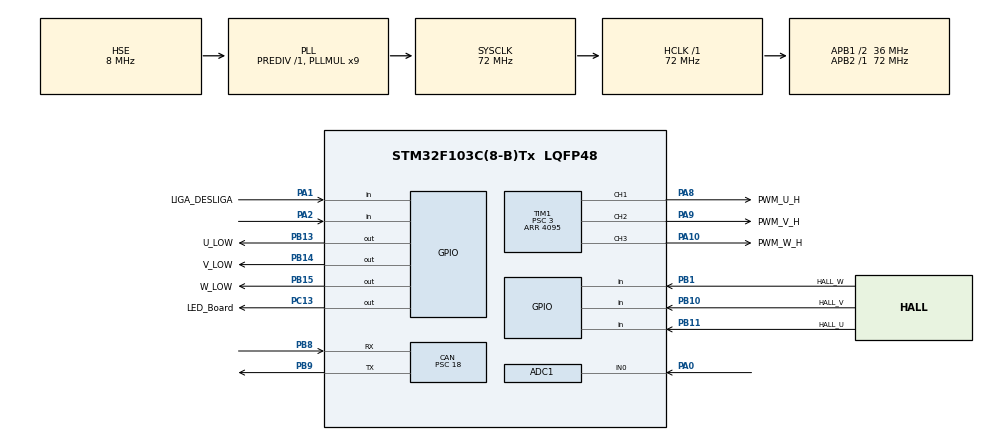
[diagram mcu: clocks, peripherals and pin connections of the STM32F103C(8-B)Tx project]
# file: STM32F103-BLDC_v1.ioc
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ADC1.Channel-0\#ChannelRegularConversion=ADC_CHANNEL_0
ADC1.NbrOfConversionFlag=1
ADC1.Rank-0\#ChannelRegularConversion=1
ADC1.SamplingTime-0\#ChannelRegularConversion=ADC_SAMPLETIME_1CYCLE_5
ADC1.master=1
CAN.BS1=CAN_BS1_13TQ
CAN.BS2=CAN_BS2_2TQ
CAN.CalculateBaudRate=125000
CAN.CalculateTimeBit=8000
CAN.CalculateTimeQuantum=500.0
CAN.NART=ENABLE
CAN.Prescaler=18
Mcu.Family=STM32F1
Mcu.Name=STM32F103C(8-B)Tx
Mcu.Package=LQFP48
NVIC.PriorityGroup=NVIC_PRIORITYGROUP_4
NVIC.TIM1_UP_IRQn=true\:0\:0\:false\:false\:true\:true\:true\:true
NVIC.USB_LP_CAN1_RX0_IRQn=true\:0\:0\:false\:false\:true\:true\:true\:true
PA0-WKUP.Signal=ADCx_IN0
PA1.GPIO_Label=LIGA_DESLIGA
PA1.Signal=GPIO_Input
PA10.GPIO_Label=PWM_W_H
PA10.Signal=S_TIM1_CH3
PA13.Mode=Serial_Wire
PA13.Signal=SYS_JTMS-SWDIO
PA14.Mode=Serial_Wire
PA14.Signal=SYS_JTCK-SWCLK
PA2.Signal=GPIO_Input
PA8.GPIO_Label=PWM_U_H
PA8.Signal=S_TIM1_CH1
PA9.GPIO_Label=PWM_V_H
PA9.Signal=S_TIM1_CH2
PB1.GPIO_Label=HALL_W
PB1.Signal=GPIO_Input
PB10.GPIO_Label=HALL_V
PB10.Signal=GPIO_Input
PB11.GPIO_Label=HALL_U
PB11.Signal=GPIO_Input
PB13.GPIO_Label=U_LOW
PB13.Signal=GPIO_Output
PB14.GPIO_Label=V_LOW
PB14.Signal=GPIO_Output
PB15.GPIO_Label=W_LOW
PB15.Signal=GPIO_Output
PB8.Mode=CAN_Activate
PB8.Signal=CAN_RX
PB9.Mode=CAN_Activate
PB9.Signal=CAN_TX
PC13-TAMPER-RTC.GPIO_Label=LED_Board
PC13-TAMPER-RTC.Signal=GPIO_Output
PD0-OSC_IN.Mode=HSE-External-Oscillator
PD0-OSC_IN.Signal=RCC_OSC_IN
PD1-OSC_OUT.Mode=HSE-External-Oscillator
PD1-OSC_OUT.Signal=RCC_OSC_OUT
ProjectManager.HeapSize=0x200
ProjectManager.StackSize=0x400
ProjectManager.TargetToolchain=STM32CubeIDE
RCC.ADCPresc=RCC_ADCPCLK2_DIV6
RCC.AHBFreq_Value=72000000
RCC.APB1CLKDivider=RCC_HCLK_DIV2
RCC.APB1Freq_Value=36000000
RCC.APB1TimFreq_Value=72000000
RCC.APB2Freq_Value=72000000
RCC.APB2TimFreq_Value=72000000
RCC.HCLKFreq_Value=72000000
RCC.PLLMUL=RCC_PLL_MUL9
RCC.PLLSourceVirtual=RCC_PLLSOURCE_HSE
RCC.SYSCLKFreq_VALUE=72000000
RCC.SYSCLKSource=RCC_SYSCLKSOURCE_PLLCLK
RCC.USBFreq_Value=72000000
SH.ADCx_IN0.0=ADC1_IN0,IN0
SH.S_TIM1_CH1.0=TIM1_CH1,PWM Generation1 CH1
SH.S_TIM1_CH2.0=TIM1_CH2,PWM Generation2 CH2
SH.S_TIM1_CH3.0=TIM1_CH3,PWM Generation3 CH3
TIM1.Channel-PWM\ Generation1\ CH1=TIM_CHANNEL_1
TIM1.Channel-PWM\ Generation2\ CH2=TIM_CHANNEL_2
TIM1.Channel-PWM\ Generation3\ CH3=TIM_CHANNEL_3
TIM1.Period=4095
TIM1.Prescaler=3
VP_TIM1_VS_ClockSourceINT.Mode=Internal
board=custom

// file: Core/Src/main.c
/* USER CODE BEGIN Header */
/*
 * ******************************************************************************
*	Project:		Veículo elétrico (Equipe Tubarão Branco).
*
*	Description: 	Acionamento (a 120 graus) do Motor BLDC (com driver IR2130).
*					UTFPR Pato Branco.
*
* 	Device(s):		STM32F103 (versão 9); STM32F407 (até versão 8)
*
*  	Old Version control:
*  	[Ref#]	- [Date]	 - [Author]		- [Detail]
* 		v1	- 2019-11-22 - Prof.Torrico	- (nome BLDC120) Versao original: acionamento a 120 graus, sentido horario.
* 		v2	- 2019-11-22 - Prof.Vargas	- (renomeado STM32F4-BLDC) Logica acionamento corrigida (para: ativo em baixo, IR2130).
* 										- Testado com motor a vazio e fontes de bancada: tudo Ok.
* 		v3	- 2019-11-23 - Prof.Vargas	- Adicionada flag no botao liga.
* 										- Adicionado Comentarios e Documentacao.
* 		v4	- 2019-11-27 - Prof.Vargas	- Sentido de rotacao corrigido (para: anti-horario).
* 										- Adicionado leitura do FAULT do IR2130.
* 										- Removido flag do botao.
* 		v5	- 2019-11-28 - Prof.Vargas	- Adicionada rampa nos PWMs com valor maximo configuravel pelo ADC
* 		v6	- 2020-02-06 - Prof.Vargas	- (renomeado STM32F407-BLDC)Importado no Stm32CubeIDE v1.2.1 (originalmente era no Atollic TrueStudio v9.3.0)
*		v7	- 2020-02-13 - IHM #1:    	- (renomeado CAN_STM32F407-BLDC)Adicionado Rede CAN, Implementado safety timer;
*		#1: Caio Aderne, Eduardo Junior, Gabriel Alessandro, Gustavo de Souza, Julia Balbinotti, Laisa Langhinoti, Stefanie Oliveira.
*		v8	- 2020-02-17 - Eduardo Jr.	- Chave ligada ao PB11 alterna entre CAN e Potenciometro para alterar o duty cycle;
*										- Frequencia de chaveamento alterada para 1kHz (prescaler 40+1), se fosse 5,1kHz seria pre=7+1, e era 10,2kHz com pre=3+1.
*		v9	- 2020-02-17 - Prof.Torrico - Código portado para o STM32F103.
*										Baseado no CAN_STMF407-BLDC_v7, mas foi removido recebimento do duty por rede CAN
*										Frequência de chaveamento de 4,? kHz
*		v10 							- (adicionado rede CAN, está com Mancuso)
*		v11 - 2020-03-18 - Prof.Torrico	- Baseado na V9, então não tem a CAN da v10
*										- Remapeado setores do motor (*importante)
*										- Na placa K4(c), feita na JLCPCB, temos 2 chaves PA1 e PA2
*		v12 - 2021-10-12 - Prof.Vargas	- Baseada na v11, mas alterando para PA1 e PA2 mudar entre 3 modos de operação:
*										recebe duty pelo potenciômetro, duty fixo e recebe pela rede CAN.
*										-Adicionado o código da rede CAN da v10.
*										-Adicionado limitação de duty cycle máximo
*		v13 - 2021-10-12 - Eduardo Jr   -Ajuste na CAN
*
*
*
******************************************************************************
*/
/* USER CODE END Header */
#include "main.h"

/* USER CODE BEGIN PD */
#define A_LOW_RESET 	HAL_GPIO_WritePin(GPIOB, GPIO_PIN_13, GPIO_PIN_RESET) //U_Low
#define	B_LOW_RESET		HAL_GPIO_WritePin(GPIOB, GPIO_PIN_14, GPIO_PIN_RESET) //V_Low
#define	C_LOW_RESET 	HAL_GPIO_WritePin(GPIOB, GPIO_PIN_15, GPIO_PIN_RESET) //W_Low
#define A_LOW_SET 		HAL_GPIO_WritePin(GPIOB, GPIO_PIN_13, GPIO_PIN_SET) //U_Low
#define	B_LOW_SET 		HAL_GPIO_WritePin(GPIOB, GPIO_PIN_14, GPIO_PIN_SET) //V_Low
#define	C_LOW_SET 		HAL_GPIO_WritePin(GPIOB, GPIO_PIN_15, GPIO_PIN_SET) //W_Low

#define LIGA_LED 		HAL_GPIO_WritePin(GPIOC, GPIO_PIN_13, GPIO_PIN_RESET) //LED_Board
#define	DESLIGA_LED 	HAL_GPIO_WritePin(GPIOC, GPIO_PIN_13, GPIO_PIN_SET) //LED_Board
#define	PISCA_LED 		HAL_GPIO_TogglePin(GPIOC, GPIO_PIN_13)
/* USER CODE END PD */

ADC_HandleTypeDef hadc1;

CAN_HandleTypeDef hcan;

TIM_HandleTypeDef htim1;

/* USER CODE BEGIN PV */

CAN_TxHeaderTypeDef pTxHeader;		//Variavel do envio da can
CAN_RxHeaderTypeDef pRxHeader; 		//Variavel do recebimento da can
uint32_t pTxMailbox;				//Caixa de envio da can
uint8_t txData[8];					//Vetor de envio pela CAN
uint8_t rxData[8];					//Vetor de recebimento pela CAN
uint16_t adcRxData;					//Variavel para o duty
CAN_FilterTypeDef sFilterConfig;

				//Mensagem de recebimento da can, variaveis que entram na interrupçcao devem ser volateis
	//Recebimento da CAN acontece na função "USB_LP_CAN1_RX0_IRQHandler(void)" no arquivo "stm32f1xx_it.c"

CAN_FilterTypeDef sFilterConfig;	//Variavel do Filtro de recebimento

/* USER CODE END PV */

void SystemClock_Config(void);
static void MX_GPIO_Init(void);
static void MX_ADC1_Init(void);
static void MX_CAN_Init(void);
static void MX_TIM1_Init(void);

/* USER CODE BEGIN 0 */
uint8_t 	Hall_A, Hall_B, Hall_C; // estado dos sensores de efeito HALL
uint8_t 	setor=0, setor_a=0, setor_b=0, setor_c=0, setor_real=0, setor_ant;
uint16_t cont=0;

// Duty Cycle deve estar entre (0~4095)
	//Obs.: IR2130 tem logica invertida: quanto maior (no codigo) esse numero,  menor sera o duty (nas chaves).
	//0.1 -> 10% = 3685
	//0.2 -> 20% = 3276
	//0.3 -> 30% = 2866
	//0.4 -> 40% = 2457  ***estava aqui nos testes de 2021
	//0.5 -> 50% = 2047
	//0.8 -> 80% = 819
	//0.9 -> 90% = 409
#define	DutyMaximo	2047
#define adcVolanteMaximo 3400
volatile unsigned int DutyRedeCAN = 4095;	//Duty cycle recebido via rede CAN
volatile unsigned int DutyDesejado = 4095;	//Duty cycle

//A placa terá 4 modos de operação, de acordo com as 2 chaves azuis (S1=PA2 e S3=PA1)
#define 	MODO_DESLIGADO			0
#define 	MODO_POTENCIOMETRO		1
#define 	MODO_DUTY_FIXO			2
#define 	MODO_REDE_CAN			3
volatile uint8_t MODO_DE_OPERACAO = MODO_DESLIGADO;	//Armazena o modo operação da placa

/* USER CODE END 0 */

int main(void)
{

  /* MCU Configuration--------------------------------------------------------*/

  /* Reset of all peripherals, Initializes the Flash interface and the Systick. */
  HAL_Init();

  /* Configure the system clock */
  SystemClock_Config();

  /* Initialize all configured peripherals */
  MX_GPIO_Init();
  MX_ADC1_Init();
  MX_CAN_Init();
  MX_TIM1_Init();
  /* USER CODE BEGIN 2 */

  HAL_TIM_PWM_Start(&htim1, TIM_CHANNEL_1);
  HAL_TIM_PWM_Start(&htim1, TIM_CHANNEL_2);
  HAL_TIM_PWM_Start(&htim1, TIM_CHANNEL_3);
  HAL_TIM_Base_Start_IT(&htim1); //depois de inicializar habilita o timer 1
  //HAL_TIM_Base_Start_IT(&htim2);

  DESLIGA_LED;	//Desliga LED da board

//Configuraçao da rede CAN:
	//a) Configuraçao do pTxHeader (envio)
//		pTxHeader.DLC = 1;				//Quantidade de Pacotes a serem enviado
//		pTxHeader.IDE =	CAN_ID_STD;		// identificador se é 11bits(CAN_ID_STD) ou 29bits(CAN_ID_EXT)
//		pTxHeader.RTR = CAN_RTR_DATA;	// Se é REMOTE(CAN_RTR_REMOTE) ou DATA(CAN_RTR_DATA)
//		pTxHeader.StdId	= 0x244;		//Identificação desse nó da rede
										//ID Padrao 11bits, number between Min_Data = 0 and Max_Data = 0x7FF
//		//pTxHeader.ExtId 				//ID extendido 29bits,number between Min_Data = 0 and Max_Data = 0x1FFFFFFF

		//b) Configuraçcao do Filtro (recebimento)
		/*sFilterConfig.FilterFIFOAssignment = CAN_FILTER_FIFO0; //Usar filtro 0 ou filtro 1 -> CAN_FILTER_FIFOx
		sFilterConfig.FilterIdHigh = 0x245<<5;		//Recebe dessa ID: number between Min_Data = 0x0000 and Max_Data = 0xFFFF
		sFilterConfig.FilterIdLow = 0;				//number between Min_Data = 0x0000 and Max_Data = 0xFFFF
		sFilterConfig.FilterMaskIdHigh = 0;			//number between Min_Data = 0x0000 and Max_Data = 0xFFFF
		sFilterConfig.FilterMaskIdLow = 0;			//number between Min_Data = 0x0000 and Max_Data = 0xFFFF
		sFilterConfig.FilterScale = CAN_FILTERSCALE_32BIT;//Dois filtros de 16(CAN_FILTERSCALE_16BIT) ou 1 de 32(CAN_FILTERSCALE_32BIT);
		sFilterConfig.FilterActivation = ENABLE; 	//Se ta ativado ou nao
		HAL_CAN_ConfigFilter(&hcan, &sFilterConfig); //Aplica as configuraçao do filtro

		//c) Inicia a rede
		if (HAL_CAN_Start(&hcan) != HAL_OK) // Começando a rede can
		{
			 Start Error
			 Error_Handler();
		}
		HAL_CAN_ActivateNotification(&hcan,CAN_IT_RX_FIFO0_MSG_PENDING);//Ativando o recebimento da flag de interrupção na fila 0

*/
  /* USER CODE END 2 */

  /* Infinite loop */
  while (1)
  {

    /* USER CODE BEGIN 3 */

	  HAL_Delay(500); //milliseconds

//Lê as 2 chaves e escolhe modo de operação:
	  //Se a chave S3 = PA1 está desligada
	  // e a chave S1 = PA2 está desligada
	  // então recebe duty pela rede CAN
	  if(HAL_GPIO_ReadPin(GPIOA, GPIO_PIN_1)==0 && HAL_GPIO_ReadPin(GPIOA, GPIO_PIN_2)==0)
	  {
		  MODO_DE_OPERACAO = MODO_REDE_CAN;
	  }
	  //Se a chave S3 = PA1 está ligada
	  // e a chave S1 = PA2 está desligada
	  // então duty pelo potenciômetro
	  else if(HAL_GPIO_ReadPin(GPIOA, GPIO_PIN_1)==1 && HAL_GPIO_ReadPin(GPIOA, GPIO_PIN_2)==0)
	  {
		  MODO_DE_OPERACAO = MODO_POTENCIOMETRO;
	  }
	  //Se a chave S3 = PA1 está ligada
	  // e a chave S1 = PA2 está ligada
	  // então duty fica fixo
	  else if(HAL_GPIO_ReadPin(GPIOA, GPIO_PIN_1)==1 && HAL_GPIO_ReadPin(GPIOA, GPIO_PIN_2)==1)
	  {
		  MODO_DE_OPERACAO = MODO_DUTY_FIXO;
	  }
	  // Se for outra combinação (no caso, sobra S3=on; S1=off)
	  // então desliga o inversor
	  else
	  {
		  MODO_DE_OPERACAO = MODO_DESLIGADO;
	  }

//	  MODO_DE_OPERACAO = MODO_REDE_CAN; //apagar essa lsinha e descomentar 220-247

//APLICA OS MODOS DE OPERAÇÃO
  	switch(MODO_DE_OPERACAO)
		{
  			//DUTY DO INVERSOR CONTROLADO PELO POTENCIÔMETRO
  			case(MODO_POTENCIOMETRO):
			{
				  //Converter ADC
				  HAL_ADC_Start(&hadc1);
				  HAL_ADC_PollForConversion(&hadc1, 100);		//ADC, (potenciometro)
				  DutyDesejado = 4095 - (HAL_ADC_GetValue(&hadc1)>>1);
				  	  	  	  //ADC com 3,3V = 4030
				  	  	  	  //ADC com 0V = 0
				  	  	  	  //PWM 4095 = 0%; 0 =100%
				  	  	  	  //4095 - (4030/2) = 2.080  (aprox.50%)
				  HAL_ADC_Stop(&hadc1);
  				 // DutyDesejado= 3000;
				  if (DutyDesejado < DutyMaximo)
				  {
					  DutyDesejado = DutyMaximo;
				  }
				  break;
			}

	  		//DUTY DO INVERSOR FIXO
			case(MODO_DUTY_FIXO):
			{
				  //DutyDesejado = 2047; //4095 * 50% = 2047 (para duty de 50%)
				  //DutyDesejado = 3685; //4095 * 90% = 3685 (para duty de 10%, pois é negado)
				  DutyDesejado = 3890; //4095 * 95% = 3890 (para duty de 5%, pois é negado)
			      //DutyDesejado = 4000; //4000 =~2,32%
				  //DutyDesejado = 1228; //1228 =~70%
				  //DutyDesejado = DutyMaximo;
				  break;
			}

			case(MODO_REDE_CAN):
			{
				  DutyDesejado = DutyRedeCAN;	//Pega o Duty pela rede CAN

				  if (DutyDesejado < DutyMaximo)
				  {
					  DutyDesejado = DutyMaximo;
				  }
				  break;
			}

			case(MODO_DESLIGADO):
			{
				DutyDesejado = 4095;	//4095 = Com isso desliga o PWM
				break;
			}
		}

  }
  /* USER CODE END 3 */
}

void SystemClock_Config(void)
{
  RCC_OscInitTypeDef RCC_OscInitStruct = {0};
  RCC_ClkInitTypeDef RCC_ClkInitStruct = {0};
  RCC_PeriphCLKInitTypeDef PeriphClkInit = {0};

  /** Initializes the RCC Oscillators according to the specified parameters
  * in the RCC_OscInitTypeDef structure.
  */
  RCC_OscInitStruct.OscillatorType = RCC_OSCILLATORTYPE_HSE;
  RCC_OscInitStruct.HSEState = RCC_HSE_ON;
  RCC_OscInitStruct.HSEPredivValue = RCC_HSE_PREDIV_DIV1;
  RCC_OscInitStruct.HSIState = RCC_HSI_ON;
  RCC_OscInitStruct.PLL.PLLState = RCC_PLL_ON;
  RCC_OscInitStruct.PLL.PLLSource = RCC_PLLSOURCE_HSE;
  RCC_OscInitStruct.PLL.PLLMUL = RCC_PLL_MUL9;
  if (HAL_RCC_OscConfig(&RCC_OscInitStruct) != HAL_OK)
  {
    Error_Handler();
  }
  /** Initializes the CPU, AHB and APB buses clocks
  */
  RCC_ClkInitStruct.ClockType = RCC_CLOCKTYPE_HCLK|RCC_CLOCKTYPE_SYSCLK
                              |RCC_CLOCKTYPE_PCLK1|RCC_CLOCKTYPE_PCLK2;
  RCC_ClkInitStruct.SYSCLKSource = RCC_SYSCLKSOURCE_PLLCLK;
  RCC_ClkInitStruct.AHBCLKDivider = RCC_SYSCLK_DIV1;
  RCC_ClkInitStruct.APB1CLKDivider = RCC_HCLK_DIV2;
  RCC_ClkInitStruct.APB2CLKDivider = RCC_HCLK_DIV1;

  if (HAL_RCC_ClockConfig(&RCC_ClkInitStruct, FLASH_LATENCY_2) != HAL_OK)
  {
    Error_Handler();
  }
  PeriphClkInit.PeriphClockSelection = RCC_PERIPHCLK_ADC;
  PeriphClkInit.AdcClockSelection = RCC_ADCPCLK2_DIV6;
  if (HAL_RCCEx_PeriphCLKConfig(&PeriphClkInit) != HAL_OK)
  {
    Error_Handler();
  }
}

static void MX_ADC1_Init(void)
{

  ADC_ChannelConfTypeDef sConfig = {0};

  /** Common config
  */
  hadc1.Instance = ADC1;
  hadc1.Init.ScanConvMode = ADC_SCAN_DISABLE;
  hadc1.Init.ContinuousConvMode = DISABLE;
  hadc1.Init.DiscontinuousConvMode = DISABLE;
  hadc1.Init.ExternalTrigConv = ADC_SOFTWARE_START;
  hadc1.Init.DataAlign = ADC_DATAALIGN_RIGHT;
  hadc1.Init.NbrOfConversion = 1;
  if (HAL_ADC_Init(&hadc1) != HAL_OK)
  {
    Error_Handler();
  }
  /** Configure Regular Channel
  */
  sConfig.Channel = ADC_CHANNEL_0;
  sConfig.Rank = ADC_REGULAR_RANK_1;
  sConfig.SamplingTime = ADC_SAMPLETIME_1CYCLE_5;
  if (HAL_ADC_ConfigChannel(&hadc1, &sConfig) != HAL_OK)
  {
    Error_Handler();
  }

}

static void MX_CAN_Init(void)
{

  hcan.Instance = CAN1;
  hcan.Init.Prescaler = 18;
  hcan.Init.Mode = CAN_MODE_NORMAL;
  hcan.Init.SyncJumpWidth = CAN_SJW_1TQ;
  hcan.Init.TimeSeg1 = CAN_BS1_13TQ;
  hcan.Init.TimeSeg2 = CAN_BS2_2TQ;
  hcan.Init.TimeTriggeredMode = DISABLE;
  hcan.Init.AutoBusOff = DISABLE;
  hcan.Init.AutoWakeUp = DISABLE;
  hcan.Init.AutoRetransmission = ENABLE;
  hcan.Init.ReceiveFifoLocked = DISABLE;
  hcan.Init.TransmitFifoPriority = DISABLE;
  if (HAL_CAN_Init(&hcan) != HAL_OK)
  {
    Error_Handler();
  }
  /* USER CODE BEGIN CAN_Init 2 */

  	pTxHeader.DLC = 2;
  	pTxHeader.IDE = CAN_ID_STD;
  	pTxHeader.RTR = CAN_RTR_DATA;
  	pTxHeader.StdId = 0x244;

  	sFilterConfig.FilterFIFOAssignment = CAN_FILTER_FIFO0;
  	sFilterConfig.FilterIdHigh = 0x245 << 4;
  	sFilterConfig.FilterIdLow = 0;
  	sFilterConfig.FilterMaskIdHigh = 0;
  	sFilterConfig.FilterMaskIdLow =0;
  	sFilterConfig.FilterScale = CAN_FILTERSCALE_32BIT;
  	sFilterConfig.FilterActivation = ENABLE;

  	HAL_CAN_ConfigFilter(&hcan, &sFilterConfig);

  	if (HAL_CAN_Start(&hcan) != HAL_OK)
  	{
  		/* Start Error */
  		Error_Handler();
  	}
  	HAL_CAN_ActivateNotification(&hcan,CAN_IT_RX_FIFO0_MSG_PENDING);

  /* USER CODE END CAN_Init 2 */

}

static void MX_TIM1_Init(void)
{

  TIM_ClockConfigTypeDef sClockSourceConfig = {0};
  TIM_MasterConfigTypeDef sMasterConfig = {0};
  TIM_OC_InitTypeDef sConfigOC = {0};
  TIM_BreakDeadTimeConfigTypeDef sBreakDeadTimeConfig = {0};

  htim1.Instance = TIM1;
  htim1.Init.Prescaler = 3;
  htim1.Init.CounterMode = TIM_COUNTERMODE_UP;
  htim1.Init.Period = 4095;
  htim1.Init.ClockDivision = TIM_CLOCKDIVISION_DIV1;
  htim1.Init.RepetitionCounter = 0;
  htim1.Init.AutoReloadPreload = TIM_AUTORELOAD_PRELOAD_DISABLE;
  if (HAL_TIM_Base_Init(&htim1) != HAL_OK)
  {
    Error_Handler();
  }
  sClockSourceConfig.ClockSource = TIM_CLOCKSOURCE_INTERNAL;
  if (HAL_TIM_ConfigClockSource(&htim1, &sClockSourceConfig) != HAL_OK)
  {
    Error_Handler();
  }
  if (HAL_TIM_PWM_Init(&htim1) != HAL_OK)
  {
    Error_Handler();
  }
  sMasterConfig.MasterOutputTrigger = TIM_TRGO_RESET;
  sMasterConfig.MasterSlaveMode = TIM_MASTERSLAVEMODE_DISABLE;
  if (HAL_TIMEx_MasterConfigSynchronization(&htim1, &sMasterConfig) != HAL_OK)
  {
    Error_Handler();
  }
  sConfigOC.OCMode = TIM_OCMODE_PWM1;
  sConfigOC.Pulse = 0;
  sConfigOC.OCPolarity = TIM_OCPOLARITY_HIGH;
  sConfigOC.OCNPolarity = TIM_OCNPOLARITY_HIGH;
  sConfigOC.OCFastMode = TIM_OCFAST_DISABLE;
  sConfigOC.OCIdleState = TIM_OCIDLESTATE_RESET;
  sConfigOC.OCNIdleState = TIM_OCNIDLESTATE_RESET;
  if (HAL_TIM_PWM_ConfigChannel(&htim1, &sConfigOC, TIM_CHANNEL_1) != HAL_OK)
  {
    Error_Handler();
  }
  if (HAL_TIM_PWM_ConfigChannel(&htim1, &sConfigOC, TIM_CHANNEL_2) != HAL_OK)
  {
    Error_Handler();
  }
  if (HAL_TIM_PWM_ConfigChannel(&htim1, &sConfigOC, TIM_CHANNEL_3) != HAL_OK)
  {
    Error_Handler();
  }
  sBreakDeadTimeConfig.OffStateRunMode = TIM_OSSR_DISABLE;
  sBreakDeadTimeConfig.OffStateIDLEMode = TIM_OSSI_DISABLE;
  sBreakDeadTimeConfig.LockLevel = TIM_LOCKLEVEL_OFF;
  sBreakDeadTimeConfig.DeadTime = 0;
  sBreakDeadTimeConfig.BreakState = TIM_BREAK_DISABLE;
  sBreakDeadTimeConfig.BreakPolarity = TIM_BREAKPOLARITY_HIGH;
  sBreakDeadTimeConfig.AutomaticOutput = TIM_AUTOMATICOUTPUT_DISABLE;
  if (HAL_TIMEx_ConfigBreakDeadTime(&htim1, &sBreakDeadTimeConfig) != HAL_OK)
  {
    Error_Handler();
  }
  HAL_TIM_MspPostInit(&htim1);

}

static void MX_GPIO_Init(void)
{
  GPIO_InitTypeDef GPIO_InitStruct = {0};

  /* GPIO Ports Clock Enable */
  __HAL_RCC_GPIOC_CLK_ENABLE();
  __HAL_RCC_GPIOD_CLK_ENABLE();
  __HAL_RCC_GPIOA_CLK_ENABLE();
  __HAL_RCC_GPIOB_CLK_ENABLE();

  /*Configure GPIO pin Output Level */
  HAL_GPIO_WritePin(LED_Board_GPIO_Port, LED_Board_Pin, GPIO_PIN_RESET);

  /*Configure GPIO pin Output Level */
  HAL_GPIO_WritePin(GPIOB, U_LOW_Pin|V_LOW_Pin|W_LOW_Pin, GPIO_PIN_RESET);

  /*Configure GPIO pin : LED_Board_Pin */
  GPIO_InitStruct.Pin = LED_Board_Pin;
  GPIO_InitStruct.Mode = GPIO_MODE_OUTPUT_PP;
  GPIO_InitStruct.Pull = GPIO_NOPULL;
  GPIO_InitStruct.Speed = GPIO_SPEED_FREQ_LOW;
  HAL_GPIO_Init(LED_Board_GPIO_Port, &GPIO_InitStruct);

  /*Configure GPIO pins : LIGA_DESLIGA_Pin PA2 */
  GPIO_InitStruct.Pin = LIGA_DESLIGA_Pin|GPIO_PIN_2;
  GPIO_InitStruct.Mode = GPIO_MODE_INPUT;
  GPIO_InitStruct.Pull = GPIO_NOPULL;
  HAL_GPIO_Init(GPIOA, &GPIO_InitStruct);

  /*Configure GPIO pins : HALL_W_Pin HALL_V_Pin HALL_U_Pin */
  GPIO_InitStruct.Pin = HALL_W_Pin|HALL_V_Pin|HALL_U_Pin;
  GPIO_InitStruct.Mode = GPIO_MODE_INPUT;
  GPIO_InitStruct.Pull = GPIO_NOPULL;
  HAL_GPIO_Init(GPIOB, &GPIO_InitStruct);

  /*Configure GPIO pins : U_LOW_Pin V_LOW_Pin W_LOW_Pin */
  GPIO_InitStruct.Pin = U_LOW_Pin|V_LOW_Pin|W_LOW_Pin;
  GPIO_InitStruct.Mode = GPIO_MODE_OUTPUT_PP;
  GPIO_InitStruct.Pull = GPIO_NOPULL;
  GPIO_InitStruct.Speed = GPIO_SPEED_FREQ_LOW;
  HAL_GPIO_Init(GPIOB, &GPIO_InitStruct);

}

/* USER CODE BEGIN 4 */
//tratamento da interrupcao do timer 1
void HAL_TIM_PeriodElapsedCallback(TIM_HandleTypeDef *htim)
//void PWM_PulseFinishedCallback(TIM_HandleTypeDef *htim)
	{
		//__HAL_TIM_SET_COMPARE(&htim1,TIM_CHANNEL_1,2000); // mudar o Duty Cycle (configurado de 0-4095)
		//__HAL_TIM_SET_COMPARE(&htim1,TIM_CHANNEL_2,2000); // mudar o Duty Cycle (configurado de 0-4095)
		//__HAL_TIM_SET_COMPARE(&htim1,TIM_CHANNEL_3,2000); // mudar o Duty Cycle (configurado de 0-4095)

		// Leitura dos sensores de efeito Hall
		Hall_A=HAL_GPIO_ReadPin(GPIOB, GPIO_PIN_1);
		Hall_B=HAL_GPIO_ReadPin(GPIOB, GPIO_PIN_11);
		Hall_C=HAL_GPIO_ReadPin(GPIOB, GPIO_PIN_10);

	// emualador dos sensores de efeito Hall

//	   if(cont<4500)
//	   {
//		   cont++;
//	   }
//	   else
//	   {
//		   cont=0;
//	   }
//
//	   switch (cont)
//	   {
//	   case(0):
//			   Hall_A=1;
//			   break;
//	   case(750):
//				Hall_C=0;
//			   break;
//	   case(1500):
//				Hall_B=1;
//			   break;
//	   case(2250):
//				Hall_A=0;
//			   break;
//	   case(3000):
//				Hall_C=1;
//			   break;
//	   case(3750):
//				Hall_B=0;
//			   break;
//	   }

	   // fim do emulador do sensor de efeito hall

		//Observa qual o setor indicado pelos sensores Hall de posicao do motor:
	    if (Hall_A==0 && Hall_B==1 && Hall_C==0) 	//setor 1
	    {
	    	setor=1;
	    }
	    else if (Hall_A==0 && Hall_B==1 && Hall_C==1) //setor 2
	    {
	    	setor=2;
	    }
	    else if (Hall_A==0 && Hall_B==0 && Hall_C==1) //setor 3
	    {
	    	setor=3;
	    }
	    else if (Hall_A==1 && Hall_B==0 && Hall_C==1) //setor 4
	    {
	    	setor=4;
	    }
	    else if (Hall_A==1 && Hall_B==0 && Hall_C==0) //setor 5
	    {
	    	setor=5;
	    }
	    else if (Hall_A==1 && Hall_B==1 && Hall_C==0) //setor 6
	    {
	    	setor=6;
	    }
	    else
	    {
	    	setor=0; //setor inexistente, desligar todas as chaves
	    }

	    //"Filtro" dos sensores
	    //Confere se as 3 �ltimas indica��es dos sensores Hall s�o iguais:
	    setor_c=setor_b;
	    setor_b=setor_a;
	    setor_a=setor;

	    //Se obtiver 2 detecções de setores iguais:
	    if(setor_a==setor_b)
	    {
	    	//Desliga as chaves high (IR2130 ativo em baixo, entao para deligar tem que ativar as sa�da)
	    	__HAL_TIM_SET_COMPARE(&htim1,TIM_CHANNEL_1,4095); //Chave U_High
	    	__HAL_TIM_SET_COMPARE(&htim1,TIM_CHANNEL_2,4095); //Chave V_High
	    	__HAL_TIM_SET_COMPARE(&htim1,TIM_CHANNEL_3,4095); //Chave W_High
	    }

	    //Se obtiver 3 detecções de setores iguais:
	    if(setor_a==setor_b && setor_b==setor_c) // se repetir numa janela de tres amostras seguidas (talvez pegar mais)
	    {
	    	setor_ant=setor_real;
	    	setor_real=setor;
	    	//poderia montar uma logica de sequencia de setores (para nao pular setor)

	    	//Chaveamento a partir do setor real
	    	//Nova logica (2020-03)
	    	switch(setor_real)
			{
				case(0):	//Desliga todas as chaves (IR2130 ativo em baixo, entao para deligar tem que ativar as saida)
					__HAL_TIM_SET_COMPARE(&htim1,TIM_CHANNEL_1,4095); //Chave U_High
					__HAL_TIM_SET_COMPARE(&htim1,TIM_CHANNEL_2,4095); //Chave V_High
					__HAL_TIM_SET_COMPARE(&htim1,TIM_CHANNEL_3,4095); //Chave W_High
					A_LOW_SET; 		//Chave U_Low
					B_LOW_SET; 		//Chave V_Low
					C_LOW_SET; 		//Chave W_Low
				break;

				case(1):	// (IR2130 ativo em baixo)
					__HAL_TIM_SET_COMPARE(&htim1,TIM_CHANNEL_1,4095); //Chave U_High
					__HAL_TIM_SET_COMPARE(&htim1,TIM_CHANNEL_2,4095); //Chave V_High
					__HAL_TIM_SET_COMPARE(&htim1,TIM_CHANNEL_3,DutyDesejado); //Chave W_High
					A_LOW_RESET; 	//Chave U_Low -> ligada
					B_LOW_SET; 		//Chave V_Low
					C_LOW_SET; 		//Chave W_Low
				break;

				case(2): // (IR2130 ativo em baixo)
					__HAL_TIM_SET_COMPARE(&htim1,TIM_CHANNEL_1,4095); //Chave U_High
					__HAL_TIM_SET_COMPARE(&htim1,TIM_CHANNEL_2,4095); //Chave V_High
					__HAL_TIM_SET_COMPARE(&htim1,TIM_CHANNEL_3,DutyDesejado); //Chave W_High
					A_LOW_SET; 		//Chave U_Low
					B_LOW_RESET; 	//Chave V_Low -> ligada
					C_LOW_SET; 		//Chave W_Low
				break;

				case(3): // (IR2130 ativo em baixo)
					__HAL_TIM_SET_COMPARE(&htim1,TIM_CHANNEL_1,DutyDesejado); //Chave U_High
					__HAL_TIM_SET_COMPARE(&htim1,TIM_CHANNEL_2,4095); //Chave V_High
					__HAL_TIM_SET_COMPARE(&htim1,TIM_CHANNEL_3,4095); //Chave W_High
					A_LOW_SET; 		//Chave U_Low
					B_LOW_RESET; 	//Chave V_Low -> ligada
					C_LOW_SET; 		//Chave W_Low
				break;

				case(4): // (IR2130 ativo em baixo)
					__HAL_TIM_SET_COMPARE(&htim1,TIM_CHANNEL_1,DutyDesejado); //Chave U_High
					__HAL_TIM_SET_COMPARE(&htim1,TIM_CHANNEL_2,4095); //Chave V_High
					__HAL_TIM_SET_COMPARE(&htim1,TIM_CHANNEL_3,4095); //Chave W_High
					A_LOW_SET; 		//Chave U_Low
					B_LOW_SET; 		//Chave V_Low
					C_LOW_RESET; 	//Chave W_Low -> ligada
				break;

				case(5): // (IR2130 ativo em baixo)
					__HAL_TIM_SET_COMPARE(&htim1,TIM_CHANNEL_1,4095); //Chave U_High
					__HAL_TIM_SET_COMPARE(&htim1,TIM_CHANNEL_2,DutyDesejado); //Chave V_High
					__HAL_TIM_SET_COMPARE(&htim1,TIM_CHANNEL_3,4095); //Chave W_High
					A_LOW_SET; 		//Chave U_Low
					B_LOW_SET;		//Chave V_Low
					C_LOW_RESET; 	//Chave W_Low -> ligada

				break;

				case(6): // (IR2130 ativo em baixo)
					__HAL_TIM_SET_COMPARE(&htim1,TIM_CHANNEL_1,4095); //Chave U_High
					__HAL_TIM_SET_COMPARE(&htim1,TIM_CHANNEL_2,DutyDesejado); //Chave V_High
					__HAL_TIM_SET_COMPARE(&htim1,TIM_CHANNEL_3,4095); //Chave W_High
					A_LOW_RESET; 	//Chave U_Low -> ligada
					B_LOW_SET; 		//Chave V_Low
					C_LOW_SET; 		//Chave W_Low
				break;
			}
	    }

}

//Interrupcao da CAN

void HAL_CAN_RxFifo0MsgPendingCallback(CAN_HandleTypeDef *hcan)
{
	  HAL_CAN_GetRxMessage(hcan, CAN_RX_FIFO0, &pRxHeader, rxData);
	  adcRxData = (rxData[0] << 8) | rxData[1];
	  //DutyRedeCAN = (unsigned int)adcRxData;
	  DutyRedeCAN = ((((DutyMaximo-4095.0)/adcVolanteMaximo)*(unsigned int)adcRxData)) + 4095;
	  HAL_GPIO_TogglePin(GPIOC, GPIO_PIN_13);
}

/* USER CODE END 4 */

void Error_Handler(void)
{
}

/************************ (C) COPYRIGHT STMicroelectronics *****END OF FILE****/
